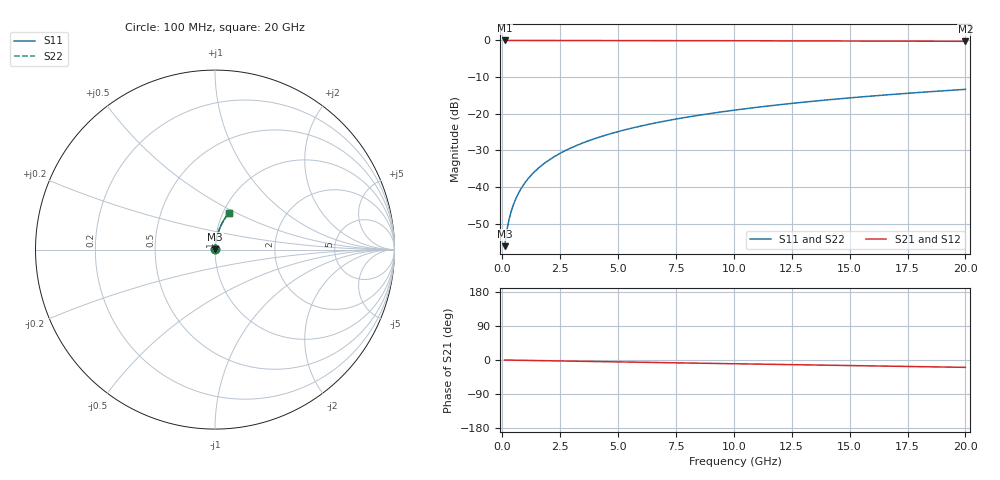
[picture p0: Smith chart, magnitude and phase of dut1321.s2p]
! Touchstone file exported from HFSS 2026.1.0
!  File:  C:/ffzhzh/LocalFiles/Ansys_Project_Files/temp_train_BSMRDL_1321_1783178513_51560.aedt
!  Generated:  11:23:02 PM Jul  4, 2026
!  Design:  BSMRDL
!  Project:  temp_train_BSMRDL_1321_1783178513_51560
! Variables:
!  h_bsmrdl = 4.48um
!  h_ox = 20um
!  h_rdl = 5um
!  h_sub = 80um
!  h_tmrdl = 5um
!  h_tsv = 80um
!  h_via = 3um
!  l_bsmrdl = 224.12um
!  l_sub = 624.12um
!  l_tmrdl = 200um
!  m_sub = 200um
!  pitch = 58.05um
!  r_tsv = 6um
!  s_tmrdl = 10um
!  w_bsmrdl = 22.2um
!  w_sub = 500um
!  w_tmrdl = 12um
!  x_tsv_center1 = 206um
!  x_tsv_center2 = 452.32um
!  x_tsv_center3 = 664.32um
!  x_tsv_center4 = 910.64um
!  x_tsv_center5 = 1122.64um
!  x_tsv_center6 = 1368.96um
# GHz S MA R 50.000000
! Terminal data exported
! Port[1] = BSM_RDL1_1_T1
! Port[2] = BSM_RDL1_1_T2
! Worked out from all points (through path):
!   200 points, 100 MHz to 20 GHz, reference 50 ohm
!   highest |S21| = -0.01 dB at 100 MHz (marker M1); lowest = -0.2 dB at 20 GHz (marker M2)
!   group delay of S21, straight-line fit = 2.7 ps
!   lowest |S11| = -56.1 dB at 100 MHz (marker M3), VSWR 1.00, Z = 50.1 + j0.123 ohm
!   |S11| at or under -10 dB: start of sweep to end of sweep
!   |S22| runs from -56.1 to -13.3 dB; largest |S21 - S12| = 7.1e-15
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0.1  0.001563 51.6  0.999 -0.1  0.999 -0.1  0.001563 51.6
! Gamma 0 0 0 0
! Port Impedance 50 0 50 0
0.2  0.002616 66.8  0.999 -0.2  0.999 -0.2  0.002616 66.8
0.3  0.003719 73.2  0.9989 -0.3  0.9989 -0.3  0.003719 73.2
0.4  0.004838 76.6  0.9989 -0.4  0.9989 -0.4  0.004838 76.6
0.5  0.005968 78.8  0.9989 -0.5  0.9989 -0.5  0.005968 78.8
0.7  0.008247 81.4  0.9988 -0.7  0.9988 -0.7  0.008247 81.4
0.8  0.009392 82.2  0.9988 -0.8  0.9988 -0.8  0.009392 82.2
1  0.01169 83.2  0.9987 -1.0  0.9987 -1.0  0.01169 83.2
1.2  0.01399 83.8  0.9987 -1.2  0.9987 -1.2  0.01399 83.8
1.4  0.01629 84.2  0.9986 -1.4  0.9986 -1.4  0.01629 84.2
1.7  0.01973 84.5  0.9985 -1.7  0.9985 -1.7  0.01973 84.5
2  0.02317 84.6  0.9983 -2.0  0.9983 -2.0  0.02317 84.6
2.7  0.03116 84.4  0.998 -2.7  0.998 -2.7  0.03116 84.4
3.5  0.04023 84.0  0.9974 -3.5  0.9974 -3.5  0.04023 84.0
4.2  0.04811 83.4  0.9969 -4.2  0.9969 -4.2  0.04811 83.4
5  0.05705 82.8  0.9962 -5.0  0.9962 -5.0  0.05705 82.8
6.8  0.07697 81.2  0.9944 -6.8  0.9944 -6.8  0.07697 81.2
8.3  0.09337 79.9  0.9926 -8.2  0.9926 -8.2  0.09337 79.9
10.1  0.1128 78.3  0.9903 -10.0  0.9903 -10.0  0.1128 78.3
13.4  0.1479 75.3  0.9851 -13.2  0.9851 -13.2  0.1479 75.3
16.7  0.182 72.3  0.979 -16.3  0.979 -16.3  0.182 72.3
20  0.2151 69.3  0.972 -19.4  0.972 -19.4  0.2151 69.3
